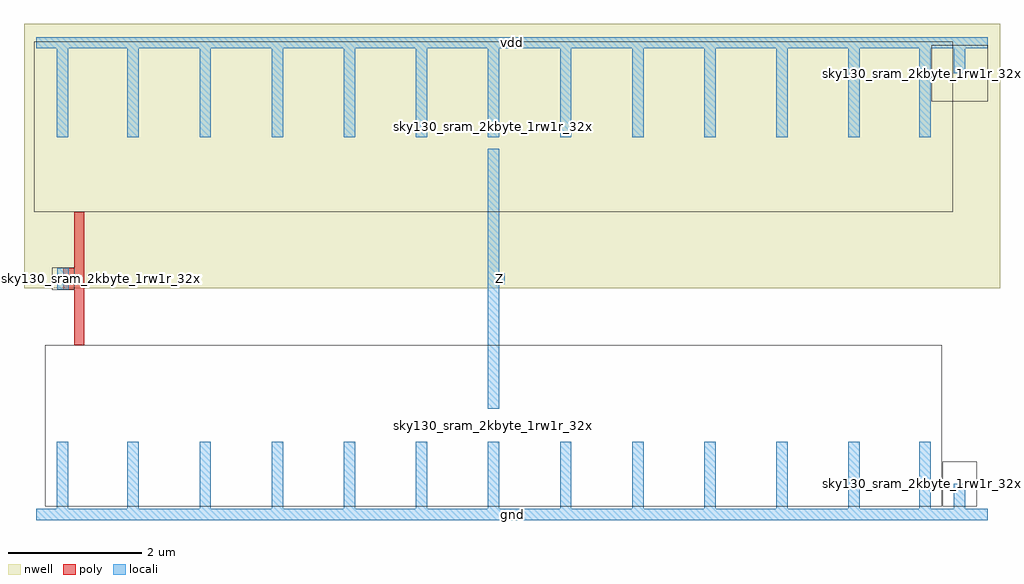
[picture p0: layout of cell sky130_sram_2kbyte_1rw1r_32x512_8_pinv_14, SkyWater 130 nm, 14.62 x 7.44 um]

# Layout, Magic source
magic
tech sky130A
magscale 1 2
<< nwell >>
rect -36 679 2888 1471
<< poly >>
rect 114 740 144 907
rect 81 674 144 740
rect 114 507 144 674
<< locali >>
rect 0 1397 2852 1431
rect 62 1130 96 1397
rect 274 1130 308 1397
rect 490 1130 524 1397
rect 706 1130 740 1397
rect 922 1130 956 1397
rect 1138 1130 1172 1397
rect 1354 1130 1388 1397
rect 1570 1130 1604 1397
rect 1786 1130 1820 1397
rect 2002 1130 2036 1397
rect 2218 1130 2252 1397
rect 2434 1130 2468 1397
rect 2646 1130 2680 1397
rect 2750 1322 2784 1397
rect 64 674 98 740
rect 1354 724 1388 1096
rect 1354 690 1405 724
rect 1354 318 1388 690
rect 62 17 96 218
rect 274 17 308 218
rect 490 17 524 218
rect 706 17 740 218
rect 922 17 956 218
rect 1138 17 1172 218
rect 1354 17 1388 218
rect 1570 17 1604 218
rect 1786 17 1820 218
rect 2002 17 2036 218
rect 2218 17 2252 218
rect 2434 17 2468 218
rect 2646 17 2680 218
rect 2750 17 2784 92
rect 0 -17 2852 17
use sky130_sram_2kbyte_1rw1r_32x512_8_pmos_m24_w2_000_sli_dli_da_p  sky130_sram_2kbyte_1rw1r_32x512_8_pmos_m24_w2_000_sli_dli_da_p_0
transform 1 0 54 0 1 963
box -59 -56 2693 454
use sky130_sram_2kbyte_1rw1r_32x512_8_nmos_m24_w2_000_sli_dli_da_p  sky130_sram_2kbyte_1rw1r_32x512_8_nmos_m24_w2_000_sli_dli_da_p_0
transform 1 0 54 0 1 51
box -26 -26 2660 456
use sky130_sram_2kbyte_1rw1r_32x512_8_contact_16  sky130_sram_2kbyte_1rw1r_32x512_8_contact_16_0
transform 1 0 48 0 1 674
box 0 0 66 66
use sky130_sram_2kbyte_1rw1r_32x512_8_contact_29  sky130_sram_2kbyte_1rw1r_32x512_8_contact_29_0
transform 1 0 2742 0 1 51
box -26 -26 76 108
use sky130_sram_2kbyte_1rw1r_32x512_8_contact_28  sky130_sram_2kbyte_1rw1r_32x512_8_contact_28_0
transform 1 0 2742 0 1 1281
box -59 -43 109 125
<< labels >>
rlabel locali s 81 707 81 707 4 A
rlabel locali s 1388 707 1388 707 4 Z
rlabel locali s 1426 0 1426 0 4 gnd
rlabel locali s 1426 1414 1426 1414 4 vdd
<< properties >>
string FIXED_BBOX 0 0 2852 1414
<< end >>
